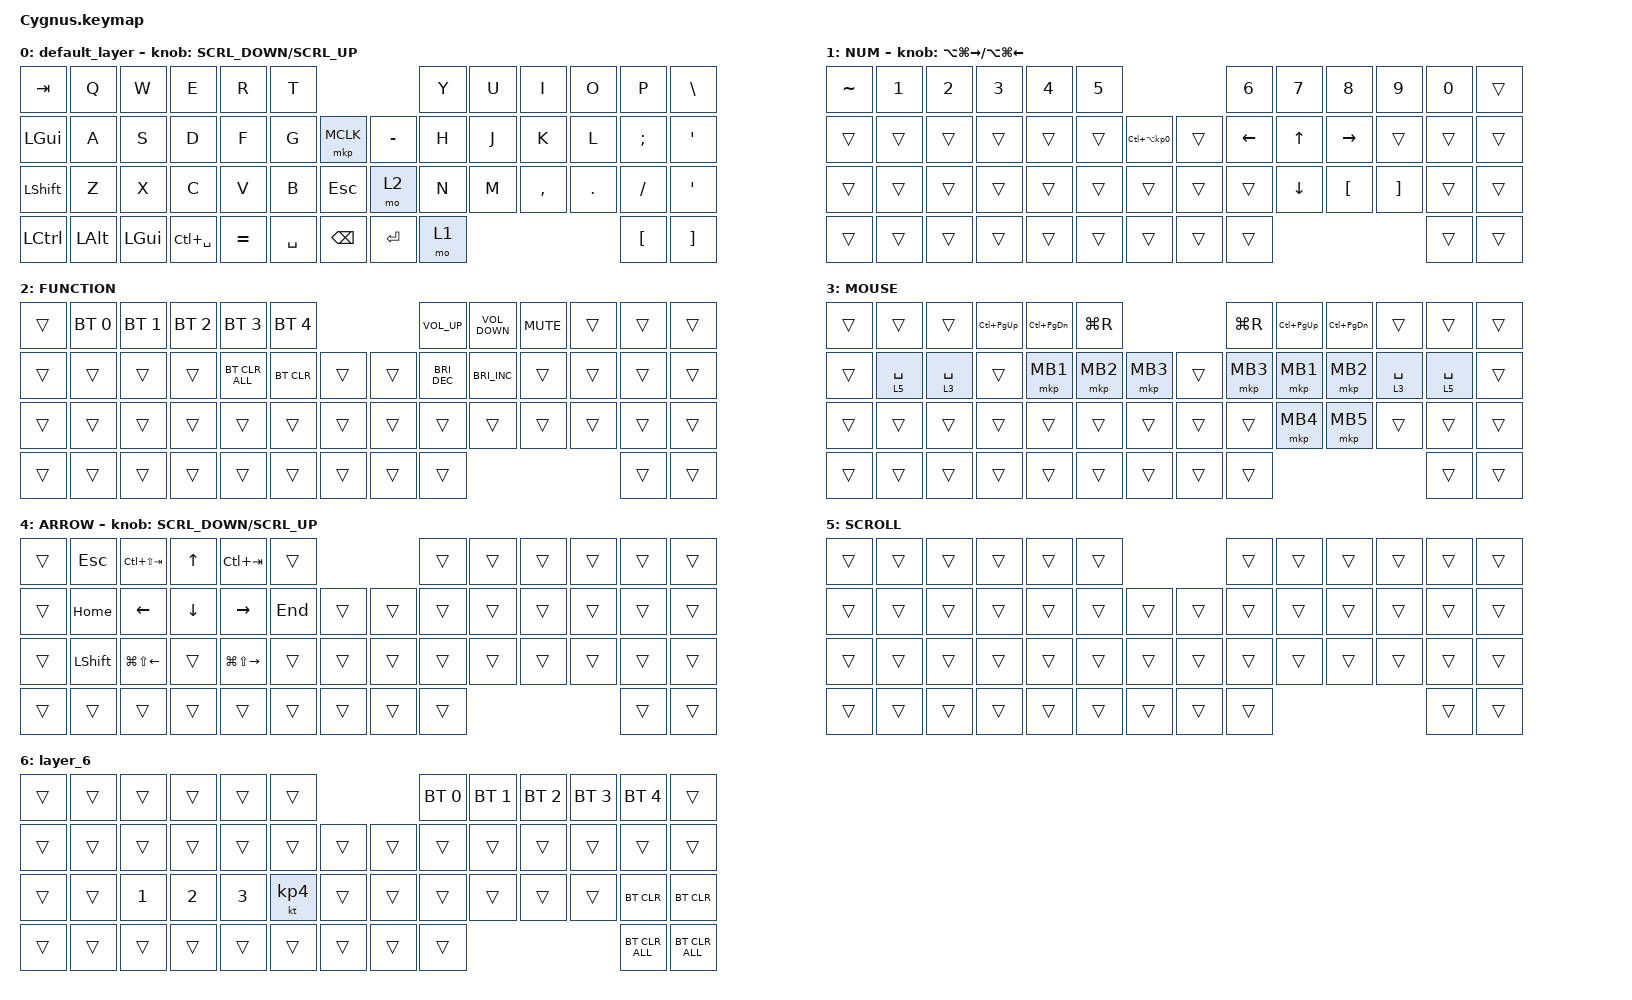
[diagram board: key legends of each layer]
#define ZMK_POINTING_DEFAULT_SCRL_VAL 120    // default: 10

#include <behaviors.dtsi>
#include <dt-bindings/zmk/bt.h>
#include <dt-bindings/zmk/keys.h>
#include <dt-bindings/zmk/pointing.h>

#define MOUSE 4
#define SCROLL 5
#define NUM 6

&mt {
    flavor = "balanced";
    quick-tap-ms = <0>;
};

/ {
    combos {
        compatible = "zmk,combos";

        double_quotation {
            bindings = <&kp DOUBLE_QUOTES>;
            key-positions = <20 21>;
        };
    };

    macros {
        to_layer_0: to_layer_0 {
            compatible = "zmk,behavior-macro-one-param";
            #binding-cells = <1>;
            bindings = <&to 0 &macro_param_1to1 &kp MACRO_PLACEHOLDER>;
            label = "TO_LAYER_0";
        };
    };

    behaviors {
        lt_to_layer_0: lt_to_layer_0 {
            compatible = "zmk,behavior-hold-tap";
            label = "LAYER_TAP_TO_0";
            bindings = <&mo>, <&to_layer_0>;

            #binding-cells = <2>;
            tapping-term-ms = <200>;
        };

        ROTATE: ROTATE {
            compatible = "zmk,behavior-sensor-rotate-var";
            label = "ROTATE";
            #sensor-binding-cells = <2>;
            bindings = <&msc>, <&msc>;

            tap-ms = <20>;
        };
    };

    keymap {
        compatible = "zmk,keymap";

        default_layer {
            bindings = <
&kp TAB           &kp Q         &kp W         &kp E          &kp R      &kp T                                  &kp Y  &kp U  &kp I      &kp O    &kp P             &kp BACKSLASH
&kp LEFT_GUI      &kp A         &kp S         &kp D          &kp F      &kp G      &mkp MCLK        &kp MINUS  &kp H  &kp J  &kp K      &kp L    &kp SEMICOLON     &kp APOS
&kp LSHFT         &kp Z         &kp X         &kp C          &kp V      &kp B      &kp ESC          &mo 2      &kp N  &kp M  &kp COMMA  &kp DOT  &kp FSLH          &kp APOSTROPHE
&kp LEFT_CONTROL  &kp LEFT_ALT  &kp LEFT_GUI  &kp LC(SPACE)  &kp EQUAL  &kp SPACE  &kp BACKSPACE    &kp ENTER  &mo 1                             &kp LEFT_BRACKET  &kp RIGHT_BRACKET
            >;

            sensor-bindings = <&ROTATE SCRL_DOWN SCRL_UP>;
        };

        NUM {
            bindings = <
&kp TILDE  &kp NUMBER_1  &kp NUMBER_2  &kp NUMBER_3  &kp NUMBER_4  &kp NUMBER_5                                     &kp NUMBER_6    &kp NUMBER_7    &kp NUMBER_8      &kp NUMBER_9       &kp NUMBER_0  &trans
&trans     &trans        &trans        &trans        &trans        &trans        &kp LC(LA(KP_NUMBER_0))    &trans  &kp LEFT_ARROW  &kp UP_ARROW    &kp RIGHT_ARROW   &trans             &trans        &trans
&trans     &trans        &trans        &trans        &trans        &trans        &trans                     &trans  &trans          &kp DOWN_ARROW  &kp LEFT_BRACKET  &kp RIGHT_BRACKET  &trans        &trans
&trans     &trans        &trans        &trans        &trans        &trans        &trans                     &trans  &trans                                                               &trans        &trans
            >;

            sensor-bindings = <&inc_dec_kp LA(LG(RIGHT_ARROW)) LA(LG(LEFT_ARROW))>;
        };

        FUNCTION {
            bindings = <
&trans  &bt BT_SEL 0  &bt BT_SEL 1  &bt BT_SEL 2  &bt BT_SEL 3    &bt BT_SEL 4                    &kp K_VOLUME_UP       &kp K_VOLUME_DOWN     &kp K_MUTE  &trans  &trans  &trans
&trans  &trans        &trans        &trans        &bt BT_CLR_ALL  &bt BT_CLR    &trans    &trans  &kp C_BRIGHTNESS_DEC  &kp C_BRIGHTNESS_INC  &trans      &trans  &trans  &trans
&trans  &trans        &trans        &trans        &trans          &trans        &trans    &trans  &trans                &trans                &trans      &trans  &trans  &trans
&trans  &trans        &trans        &trans        &trans          &trans        &trans    &trans  &trans                                                          &trans  &trans
            >;
        };

        MOUSE {
            bindings = <
&trans  &trans       &trans       &kp LC(PAGE_UP)  &kp LC(PAGE_DOWN)  &kp LG(R)                      &kp LG(R)  &kp LC(PAGE_UP)  &kp LC(PAGE_DOWN)  &trans       &trans       &trans
&trans  &lt 5 SPACE  &lt 3 SPACE  &trans           &mkp MB1           &mkp MB2   &mkp MB3    &trans  &mkp MB3   &mkp MB1         &mkp MB2           &lt 3 SPACE  &lt 5 SPACE  &trans
&trans  &trans       &trans       &trans           &trans             &trans     &trans      &trans  &trans     &mkp MB4         &mkp MB5           &trans       &trans       &trans
&trans  &trans       &trans       &trans           &trans             &trans     &trans      &trans  &trans                                                      &trans       &trans
            >;
        };

        ARROW {
            bindings = <
&trans  &kp ESCAPE      &kp LC(LS(TAB))         &kp UP_ARROW    &kp LC(TAB)              &trans                     &trans  &trans  &trans  &trans  &trans  &trans
&trans  &kp HOME        &kp LEFT_ARROW          &kp DOWN_ARROW  &kp RIGHT_ARROW          &kp END  &trans    &trans  &trans  &trans  &trans  &trans  &trans  &trans
&trans  &kp LEFT_SHIFT  &kp LG(LS(LEFT_ARROW))  &trans          &kp LG(LS(RIGHT_ARROW))  &trans   &trans    &trans  &trans  &trans  &trans  &trans  &trans  &trans
&trans  &trans          &trans                  &trans          &trans                   &trans   &trans    &trans  &trans                          &trans  &trans
            >;

            sensor-bindings = <&ROTATE SCRL_DOWN SCRL_UP>;
        };

        SCROLL {
            bindings = <
&trans  &trans  &trans  &trans  &trans  &trans                    &trans  &trans  &trans  &trans  &trans  &trans
&trans  &trans  &trans  &trans  &trans  &trans  &trans    &trans  &trans  &trans  &trans  &trans  &trans  &trans
&trans  &trans  &trans  &trans  &trans  &trans  &trans    &trans  &trans  &trans  &trans  &trans  &trans  &trans
&trans  &trans  &trans  &trans  &trans  &trans  &trans    &trans  &trans                          &trans  &trans
            >;
        };

        layer_6 {
            bindings = <
&trans  &trans  &trans        &trans        &trans        &trans                       &bt BT_SEL 0  &bt BT_SEL 1  &bt BT_SEL 2  &bt BT_SEL 3  &bt BT_SEL 4    &trans
&trans  &trans  &trans        &trans        &trans        &trans     &trans    &trans  &trans        &trans        &trans        &trans        &trans          &trans
&trans  &trans  &kp NUMBER_1  &kp NUMBER_2  &kp NUMBER_3  &kt KP_N4  &trans    &trans  &trans        &trans        &trans        &trans        &bt BT_CLR      &bt BT_CLR
&trans  &trans  &trans        &trans        &trans        &trans     &trans    &trans  &trans                                                  &bt BT_CLR_ALL  &bt BT_CLR_ALL
            >;
        };
    };
};
